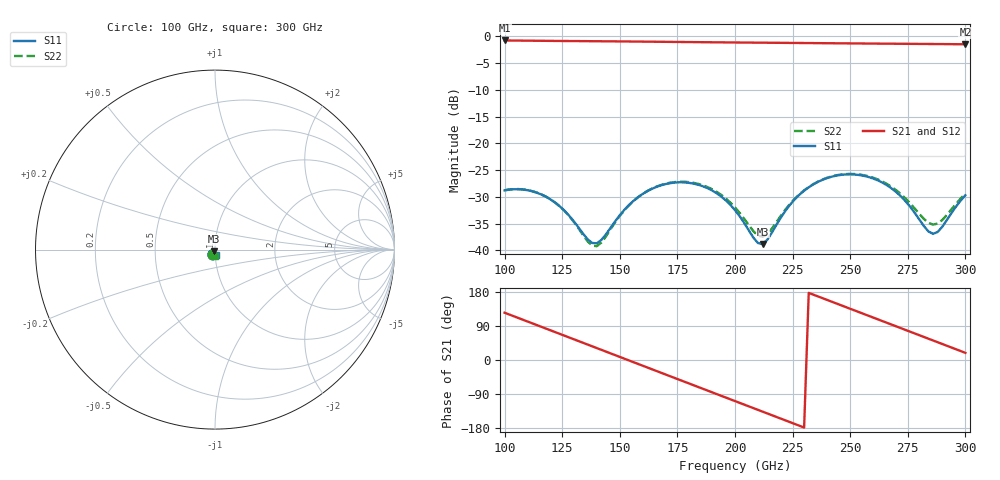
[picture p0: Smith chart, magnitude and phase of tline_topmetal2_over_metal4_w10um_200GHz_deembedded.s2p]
! Created with skrf 2.2.0 (http://scikit-rf.org).
# GHz S DB R 50.0
! Port[1] = P1
! Port[2] = P2
!freq dBS11 angS11 dBS21 angS21 dBS12 angS12 dBS22 angS22
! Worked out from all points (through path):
!   101 points, 100 GHz to 300 GHz, reference 50 ohm
!   highest |S21| = -0.78 dB at 100 GHz (marker M1); lowest = -1.5 dB at 300 GHz (marker M2)
!   group delay of S21, straight-line fit = 6.47 ps
!   lowest |S11| = -38.8 dB at 212 GHz (marker M3), VSWR 1.02, Z = 49.4 - j0.986 ohm
!   |S11| at or under -10 dB: start of sweep to end of sweep
!   |S22| runs from -39.2 to -25.7 dB; largest |S21 - S12| = 1e-14
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100  -28.80 -120.3  -0.78 124.8  -0.78 124.8  -28.77 -120.1
108  -28.64 -135.5  -0.81 106.1  -0.81 106.1  -28.62 -135.4
116  -29.58 -149.6  -0.85 87.4  -0.85 87.4  -29.56 -149.7
126  -32.60 -161.5  -0.88 64.1  -0.88 64.1  -32.63 -162.0
134  -36.86 -154.5  -0.91 45.5  -0.91 45.5  -37.12 -155.4
140  -38.69 -123.9  -0.93 31.5  -0.93 31.5  -39.23 -122.7
152  -32.43 -94.9  -0.97 3.5  -0.97 3.5  -32.51 -91.7
160  -29.45 -102.5  -1.00 -15.2  -1.00 -15.2  -29.44 -99.5
168  -27.84 -115.0  -1.03 -33.9  -1.03 -33.9  -27.77 -112.0
184  -27.74 -142.8  -1.10 -71.2  -1.10 -71.2  -27.58 -139.3
192  -29.32 -155.2  -1.13 -89.8  -1.13 -89.8  -29.07 -151.2
200  -32.48 -162.4  -1.16 -108.4  -1.16 -108.4  -31.99 -157.5
208  -37.65 -147.3  -1.19 -127.0  -1.19 -127.0  -36.43 -143.6
212  -38.82 -119.5  -1.20 -136.3  -1.20 -136.3  -37.47 -120.8
224  -31.43 -85.9  -1.24 -164.3  -1.24 -164.3  -31.27 -87.9
234  -27.68 -97.1  -1.28 172.5  -1.28 172.5  -27.62 -97.2
242  -26.24 -110.2  -1.30 153.8  -1.30 153.8  -26.18 -109.3
252  -25.84 -127.5  -1.34 130.6  -1.34 130.6  -25.75 -125.8
268  -28.44 -152.0  -1.39 93.4  -1.39 93.4  -28.16 -148.3
276  -31.84 -156.2  -1.42 74.7  -1.42 74.7  -31.21 -151.0
286  -36.92 -121.1  -1.45 51.5  -1.45 51.5  -35.20 -121.6
300  -29.71 -84.1  -1.49 18.9  -1.49 18.9  -29.42 -88.4
